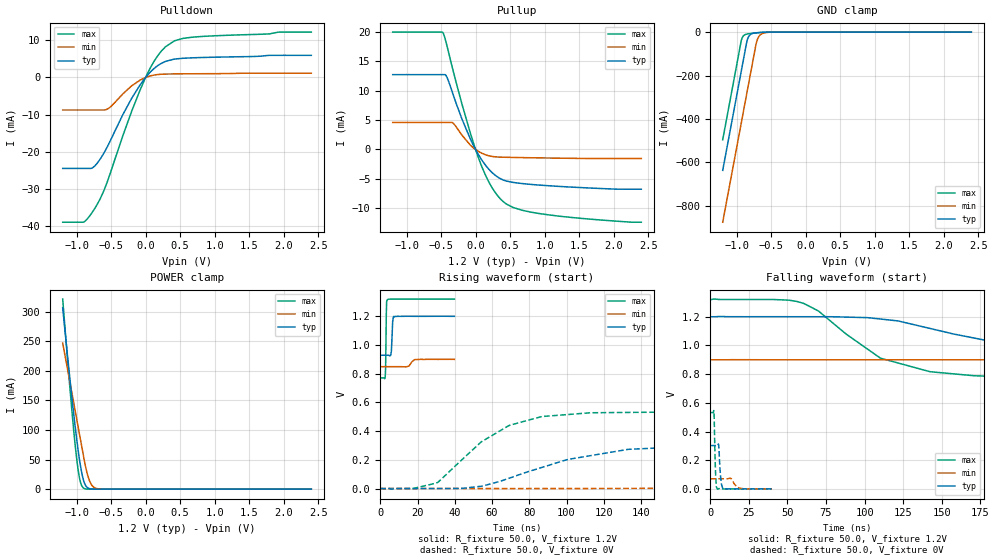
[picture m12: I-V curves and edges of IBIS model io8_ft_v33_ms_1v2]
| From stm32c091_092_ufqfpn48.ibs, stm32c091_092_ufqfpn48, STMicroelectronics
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[Model]   io8_ft_v33_ms_1v2
Model_type I/O
Polarity   Non-Inverting
Enable   Active-Low
| CAP_THRESHOLD on pad IOFT is "UDTCAPC" :
| Rising=30.0% of vddiom   Falling=70.0% of vddiom
| C_comp min and max val. don't necessarily correlate with the min and max pvt
| but are the smallest and greatest pad capacitance found.
| var   typ   min   max
C_comp   1.66146pF  1.63936pF  1.68354pF
|C_comp_pullup   963.19500fF  916.66500fF  949.02500fF
|C_comp_pulldown   698.26501fF  722.69004fF  734.51500fF
Vinl = 450.0mV
Vinh = 660.0mV
Vmeas = 600.0mV   | Reference voltage for timing measurements
Cref  = 50.0pF   | Timing specification test load capacitance value
Rref  = 1.0MOhm   | Timing specification test load resistance value
Vref  = 660.0mV   | Timing specification test load voltage
[Model Spec]
| TIME_THRESHOLD on pin ZIV33M is "CMOS" :
| Rising=50.0% of vddiom   Falling=50.0% of vddiom
Vinl 458.70000mV 361.70000mV 499.70000mV
Vinh 728.30000mV 549.30000mV 792.30000mV
| variable   typ   min   max
[Temperature Range] 25.0 125.0 -40.0
| variable   typ   min   max
[Voltage Range] 1.2V 900.0mV 1.32V
| variable   typ   min   max
[POWER Clamp Reference] 1.2V 900.0mV 1.32V
| variable   typ   min   max
[GND Clamp Reference] 0V 0V 0V
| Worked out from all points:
|   slope of the pulldown table from 0 to 0.18 V, typ, clamps not added: 55.6 ohm
|   slope of the pullup table from 0 to 0.18 V, typ, clamps not added: 56.3 ohm
|   GND clamp passes 1 mA (typ) near -0.61 V on its own axis
|   POWER clamp passes 1 mA (typ) near -0.81 V on its own axis
|   rising waveform, R_fixture 50.0, V_fixture 1.2V: 20-80 % time 541ps typ, 1.86ns min, 336ps max; typ from 0.928 V to 1.2 V
|   falling waveform, R_fixture 50.0, V_fixture 1.2V: 20-80 % time 79.5ns typ, 244ns min, 47.2ns max; typ from 1.2 V to 0.929 V
|   rising waveform, R_fixture 50.0, V_fixture 0V: 20-80 % time 52ns typ, 126ns min, 31.3ns max; typ from 0 V to 0.302 V
|   falling waveform, R_fixture 50.0, V_fixture 0V: 20-80 % time 1.14ns typ, 3.03ns min, 776ps max; typ from 0.302 V to 0 V
[POWER Clamp]
-1.2V     306.2mA    246.9mA    321.2mA
-1.09V    180mA      177.2mA    163.4mA
-1.05V    136.9mA    151.8mA    110.9mA
-1.01V    96.55mA    126.4mA    64.02mA
-960mV    52.29mA    94.73mA    20.68mA
-930mV    31.08mA    75.71mA    7.282mA
-900mV    15.67mA    56.69mA    2.025mA
-860mV    4.779mA    33.42mA    315.2uA
-810mV    823.2uA    13.62mA    29.21uA
-760mV    129.2uA    4.248mA    2.687uA
-690mV    9.442uA    651.7uA    95.02nA
2.4V      0A         0A         0A
[GND Clamp]
-1.2V     -636.9mA   -875.6mA   -495.8mA
-940mV    -194.9mA   -433.6mA   -53.78mA
-920mV    -160.9mA   -399.6mA   -28.06mA
-890mV    -109.9mA   -348.6mA   -14.28mA
-850mV    -43.09mA   -280.6mA   -9.18mA
-830mV    -23.96mA   -246.6mA   -8.001mA
-790mV    -9.264mA   -178.6mA   -6.254mA
-710mV    -3.12mA    -46.23mA   -3.486mA
-680mV    -2.303mA   -22.08mA   -2.625mA
-650mV    -1.674mA   -11.03mA   -1.876mA
-450mV    -34.83uA   -165.4uA   -17.32uA
2.4V      336.3pA    36.26nA    239.5pA
| variable   typ   min   max
[Pullup Reference] 1.2V 900.0mV 1.32V
| variable   typ   min   max
[Pulldown Reference] 0V 0V 0V
[Pullup]
-1.2V     12.75mA    4.603mA    19.99mA
-470mV    12.75mA    4.603mA    19.85mA
-420mV    12.43mA    4.603mA    17.93mA
-330mV    9.521mA    4.538mA    13.66mA
-80mV     1.904mA    796.1uA    2.965mA
40mV      -840.8uA   -307.6uA   -1.362mA
130mV     -2.46mA    -835.8uA   -4.016mA
230mV     -3.829mA   -1.167mA   -6.331mA
420mV     -5.274mA   -1.322mA   -9.06mA
670mV     -5.799mA   -1.382mA   -10.34mA
1.04V     -6.162mA   -1.451mA   -11.11mA
2.4V      -6.767mA   -1.538mA   -12.38mA
[Pulldown]
-1.2V     -24.47mA   -8.75mA    -38.94mA
-890mV    -24.47mA   -8.75mA    -38.83mA
-780mV    -24.4mA    -8.75mA    -36.48mA
-710mV    -23.27mA   -8.75mA    -34.44mA
-530mV    -17.77mA   -8.214mA   -26.77mA
-330mV    -10.03mA   -4.428mA   -15.71mA
-80mV     -2.009mA   -705.4uA   -3.396mA
110mV     2.198mA    601.6uA    3.95mA
290mV     4.348mA    923.6uA    8.288mA
420mV     4.961mA    964.2uA    9.88mA
670mV     5.29mA     1.001mA    10.83mA
2.4V      5.965mA    1.157mA    12.22mA
[Ramp]
dV/dt_r 181.27057mV/52.0479ns 42.44357mV/125.83289ns 319.41324mV/31.26842ns
dV/dt_f 162.87228mV/79.5009ns 30.58962mV/243.59359ns 329.56456mV/47.237ns
R_load = 50.0
| Removed startup time: 0s 0s 0s  .
| Removed end time: 39.8ns.
[Rising Waveform]
R_fixture   = 50.0
V_fixture   = 1.2V
V_fixture_min = 900.0mV
V_fixture_max = 1.32V
0s        928.4mV    849mV      770.7mV
2.6ns     928.5mV    849mV      771.8mV
2.85ns    928.4mV    849mV      838.4mV
3.2ns     928.4mV    849mV      1.182V
3.4ns     928.5mV    849mV      1.297V
3.8ns     928.5mV    849mV      1.315V
5.95ns    955.3mV    849mV      1.32V
6.65ns    1.163V     849mV      1.32V
7.1ns     1.199V     849mV      1.32V
39.8ns    1.2V       899.7mV    1.32V
| Removed startup time: 0s 0s 0s  .
| Removed end time: 3.999us.
[Falling Waveform]
R_fixture   = 50.0
V_fixture   = 1.2V
V_fixture_min = 900.0mV
V_fixture_max = 1.32V
0s        1.2V       900mV      1.32V
60ns      1.2V       900mV      1.294V
70ns      1.2V       900mV      1.24V
110ns     1.184V     900mV      913.1mV
142ns     1.119V     900mV      817.9mV
212ns     982.1mV    900mV      774.9mV
265ns     943.6mV    899.8mV    771.5mV
463ns     928.2mV    891mV      770.7mV
914ns     928.4mV    850mV      770.7mV
3.999us   928.5mV    849mV      770.7mV
| Removed startup time: 0s 0s 0s  .
| Removed end time: 3.999us.
[Rising Waveform]
R_fixture   = 50.0
V_fixture   = 0V
V_fixture_min = 0V
V_fixture_max = 0V
0s        428.8nV    568.5nV    4.722uV
31ns      -50.14uV   11.33uV    43.88mV
54ns      15.53mV    8.281uV    322.6mV
69ns      71.11mV    -19.6uV    438.3mV
87ns      147.9mV    17.92uV    501.8mV
113ns     229.4mV    124.7uV    527.8mV
178ns     299.4mV    8.683mV    532.4mV
259ns     302.6mV    40.62mV    531.7mV
455ns     302.1mV    70.27mV    532mV
3.999us   302.1mV    70.74mV    532.4mV
| Removed startup time: 0s 0s 0s  .
| Removed end time: 39.85ns.
[Falling Waveform]
R_fixture   = 50.0
V_fixture   = 0V
V_fixture_min = 0V
V_fixture_max = 0V
0s        302.1mV    70.7mV     532mV
2.3ns     302.1mV    70.7mV     546.2mV
3.5ns     302.1mV    70.7mV     93.07mV
3.95ns    302.1mV    70.7mV     15.69mV
4.65ns    301.6mV    70.7mV     -1.357mV
5.55ns    293.2mV    70.7mV     2.886mV
6.65ns    90.47mV    70.71mV    165.4uV
8.1ns     2.173mV    70.7mV     142.4uV
19.05ns   71.45uV    4.59mV     -253.4uV
39.85ns   86.56uV    -47.44uV   -325uV
